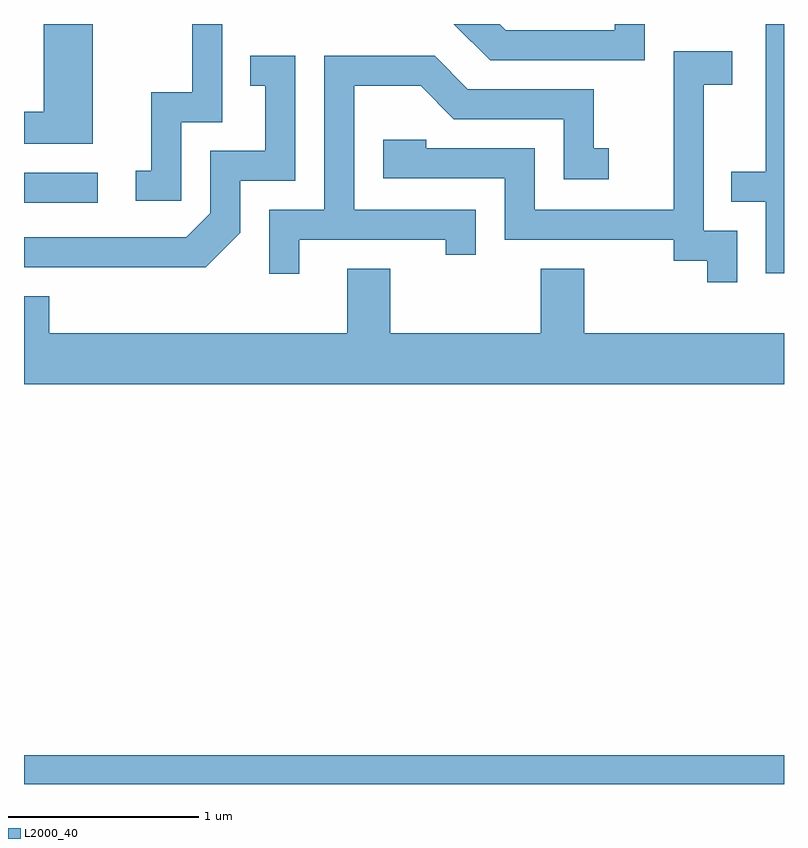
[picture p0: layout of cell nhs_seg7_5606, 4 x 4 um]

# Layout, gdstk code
import gdstk
lib = gdstk.Library(unit=1e-6, precision=1e-09)
def R(c, l, rs):  # rectangles x0, y0, x1, y1
    for r in rs: c.add(gdstk.rectangle(r[:2], r[2:], *l))
def P(c, l, *ps):  # polygons
    for p in ps: c.add(gdstk.Polygon(p, *l))
L2000_40 = (2000, 40)

nhs_seg7_5606 = lib.new_cell('nhs_seg7_5606')
R(nhs_seg7_5606, L2000_40, [(357.611,1672.252,361.611,1672.404), (357.611,1675.311,357.998,1675.469)])
P(nhs_seg7_5606, L2000_40, [(358.439,1675.736),(358.654,1675.736),(358.654,1676.252),(358.496,1676.252),(358.496,1675.894),(358.281,1675.894),(358.281,1675.479),(358.198,1675.479),(358.198,1675.321),(358.439,1675.321)],
  [(360.879,1676.252),(360.721,1676.252),(360.721,1676.219),(360.147,1676.219),(360.114,1676.252),(359.873,1676.252),(360.064,1676.061),(360.879,1676.061)],
  [(361.611,1676.252),(361.516,1676.252),(361.516,1675.474),(361.333,1675.474),(361.333,1675.316),(361.516,1675.316),(361.516,1674.941),(361.611,1674.941)],
  [(357.974,1676.252),(357.716,1676.252),(357.716,1675.789),(357.611,1675.789),(357.611,1675.621),(357.974,1675.621)],
  [(361.364,1675.164),(361.189,1675.164),(361.189,1675.931),(361.339,1675.931),(361.339,1676.109),(361.031,1676.109),(361.031,1675.274),(360.299,1675.274),(360.299,1675.599),(359.729,1675.599),(359.729,1675.644),(359.501,1675.644),(359.501,1675.441),(360.141,1675.441),(360.141,1675.116),(361.031,1675.116),(361.031,1675.006),(361.206,1675.006),(361.206,1674.893),(361.364,1674.893)],
  [(358.749,1675.154),(358.749,1675.426),(359.039,1675.426),(359.039,1676.084),(358.803,1676.084),(358.803,1675.926),(358.881,1675.926),(358.881,1675.584),(358.591,1675.584),(358.591,1675.257),(358.464,1675.129),(357.611,1675.129),(357.611,1674.971),(358.567,1674.971)],
  [(359.059,1675.116),(359.831,1675.116),(359.831,1675.038),(359.989,1675.038),(359.989,1675.274),(359.349,1675.274),(359.349,1675.926),(359.699,1675.926),(359.874,1675.751),(360.451,1675.751),(360.451,1675.436),(360.688,1675.436),(360.688,1675.599),(360.609,1675.599),(360.609,1675.909),(359.947,1675.909),(359.772,1676.084),(359.191,1676.084),(359.191,1675.274),(358.901,1675.274),(358.901,1674.938),(359.059,1674.938)],
  [(361.611,1674.624),(360.559,1674.624),(360.559,1674.964),(360.331,1674.964),(360.331,1674.624),(359.539,1674.624),(359.539,1674.964),(359.311,1674.964),(359.311,1674.624),(357.744,1674.624),(357.744,1674.819),(357.611,1674.819),(357.611,1674.356),(361.611,1674.356)])

lib.write_gds('nhs_seg7_5606.gds')
